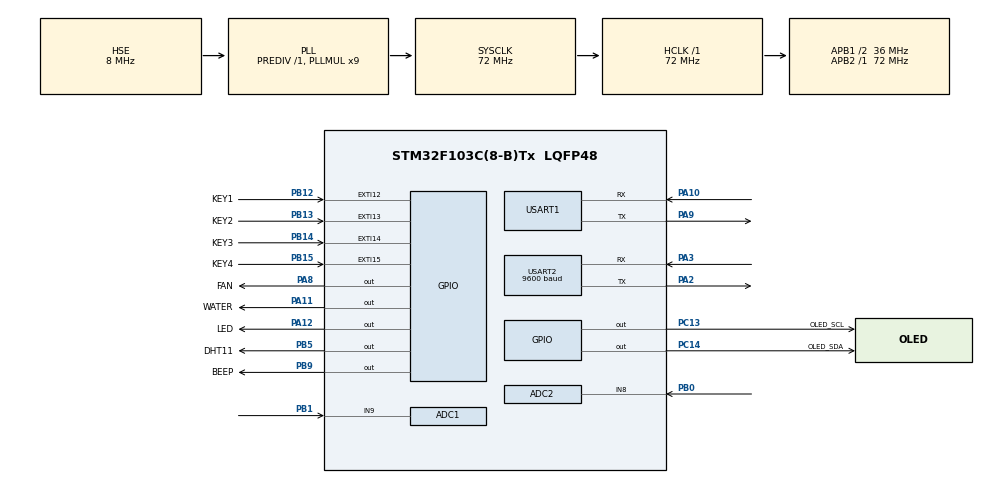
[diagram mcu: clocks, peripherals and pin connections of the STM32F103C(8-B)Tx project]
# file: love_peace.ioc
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ADC1.Channel-0\#ChannelRegularConversion=ADC_CHANNEL_9
ADC1.NbrOfConversionFlag=1
ADC1.Rank-0\#ChannelRegularConversion=1
ADC1.SamplingTime-0\#ChannelRegularConversion=ADC_SAMPLETIME_1CYCLE_5
ADC1.master=1
ADC2.Channel-0\#ChannelRegularConversion=ADC_CHANNEL_8
ADC2.NbrOfConversionFlag=1
ADC2.Rank-0\#ChannelRegularConversion=1
ADC2.SamplingTime-0\#ChannelRegularConversion=ADC_SAMPLETIME_1CYCLE_5
Dma.Request0=USART1_RX
Dma.Request1=USART1_TX
Dma.USART1_RX.0.Direction=DMA_PERIPH_TO_MEMORY
Dma.USART1_RX.0.Instance=DMA1_Channel5
Dma.USART1_RX.0.MemDataAlignment=DMA_MDATAALIGN_BYTE
Dma.USART1_RX.0.MemInc=DMA_MINC_ENABLE
Dma.USART1_RX.0.Mode=DMA_NORMAL
Dma.USART1_RX.0.PeriphDataAlignment=DMA_PDATAALIGN_BYTE
Dma.USART1_RX.0.PeriphInc=DMA_PINC_DISABLE
Dma.USART1_RX.0.Priority=DMA_PRIORITY_LOW
Dma.USART1_TX.1.Direction=DMA_MEMORY_TO_PERIPH
Dma.USART1_TX.1.Instance=DMA1_Channel4
Dma.USART1_TX.1.MemDataAlignment=DMA_MDATAALIGN_BYTE
Dma.USART1_TX.1.MemInc=DMA_MINC_ENABLE
Dma.USART1_TX.1.Mode=DMA_NORMAL
Dma.USART1_TX.1.PeriphDataAlignment=DMA_PDATAALIGN_BYTE
Dma.USART1_TX.1.PeriphInc=DMA_PINC_DISABLE
Dma.USART1_TX.1.Priority=DMA_PRIORITY_LOW
Mcu.Family=STM32F1
Mcu.Name=STM32F103C(8-B)Tx
Mcu.Package=LQFP48
NVIC.DMA1_Channel4_IRQn=true\:0\:0\:false\:false\:true\:false\:true\:true
NVIC.DMA1_Channel5_IRQn=true\:0\:0\:false\:false\:true\:false\:true\:true
NVIC.EXTI15_10_IRQn=true\:0\:0\:false\:false\:true\:true\:true\:true
NVIC.PriorityGroup=NVIC_PRIORITYGROUP_4
NVIC.USART1_IRQn=true\:1\:0\:true\:false\:true\:true\:true\:true
NVIC.USART2_IRQn=true\:2\:0\:true\:false\:true\:true\:true\:true
PA10.Mode=Asynchronous
PA10.Signal=USART1_RX
PA11.GPIO_Label=WATER
PA11.GPIO_ModeDefaultOutputPP=GPIO_MODE_OUTPUT_PP
PA11.GPIO_PuPd=GPIO_PULLDOWN
PA11.GPIO_Speed=GPIO_SPEED_FREQ_HIGH
PA11.PinState=GPIO_PIN_SET
PA11.Signal=GPIO_Output
PA12.GPIO_Label=LED
PA12.GPIO_ModeDefaultOutputPP=GPIO_MODE_OUTPUT_PP
PA12.GPIO_PuPd=GPIO_PULLUP
PA12.GPIO_Speed=GPIO_SPEED_FREQ_HIGH
PA12.PinState=GPIO_PIN_SET
PA12.Signal=GPIO_Output
PA13.Mode=Serial_Wire
PA13.Signal=SYS_JTMS-SWDIO
PA14.Mode=Serial_Wire
PA14.Signal=SYS_JTCK-SWCLK
PA2.Mode=Asynchronous
PA2.Signal=USART2_TX
PA3.Mode=Asynchronous
PA3.Signal=USART2_RX
PA8.GPIO_Label=FAN
PA8.GPIO_ModeDefaultOutputPP=GPIO_MODE_OUTPUT_PP
PA8.GPIO_PuPd=GPIO_PULLDOWN
PA8.GPIO_Speed=GPIO_SPEED_FREQ_HIGH
PA8.PinState=GPIO_PIN_SET
PA8.Signal=GPIO_Output
PA9.Mode=Asynchronous
PA9.Signal=USART1_TX
PB0.Signal=ADCx_IN8
PB1.Signal=ADCx_IN9
PB12.GPIO_Label=KEY1
PB12.GPIO_ModeDefaultEXTI=GPIO_MODE_IT_FALLING
PB12.GPIO_PuPd=GPIO_PULLUP
PB12.Signal=GPXTI12
PB13.GPIO_Label=KEY2
PB13.GPIO_ModeDefaultEXTI=GPIO_MODE_IT_FALLING
PB13.GPIO_PuPd=GPIO_PULLUP
PB13.Signal=GPXTI13
PB14.GPIO_Label=KEY3
PB14.GPIO_ModeDefaultEXTI=GPIO_MODE_IT_FALLING
PB14.GPIO_PuPd=GPIO_PULLUP
PB14.Signal=GPXTI14
PB15.GPIO_Label=KEY4
PB15.GPIO_ModeDefaultEXTI=GPIO_MODE_IT_FALLING
PB15.GPIO_PuPd=GPIO_PULLUP
PB15.Signal=GPXTI15
PB5.GPIO_Label=DHT11
PB5.GPIO_ModeDefaultOutputPP=GPIO_MODE_OUTPUT_PP
PB5.GPIO_PuPd=GPIO_PULLUP
PB5.GPIO_Speed=GPIO_SPEED_FREQ_HIGH
PB5.PinState=GPIO_PIN_SET
PB5.Signal=GPIO_Output
PB9.GPIO_Label=BEEP
PB9.GPIO_PuPd=GPIO_PULLUP
PB9.GPIO_Speed=GPIO_SPEED_FREQ_HIGH
PB9.PinState=GPIO_PIN_SET
PB9.Signal=GPIO_Output
PC13-TAMPER-RTC.GPIO_Label=OLED_SCL
PC13-TAMPER-RTC.GPIO_ModeDefaultOutputPP=GPIO_MODE_OUTPUT_PP
PC13-TAMPER-RTC.GPIO_PuPd=GPIO_PULLUP
PC13-TAMPER-RTC.GPIO_Speed=GPIO_SPEED_FREQ_HIGH
PC13-TAMPER-RTC.PinState=GPIO_PIN_SET
PC13-TAMPER-RTC.Signal=GPIO_Output
PC14-OSC32_IN.GPIO_Label=OLED_SDA
PC14-OSC32_IN.GPIO_ModeDefaultOutputPP=GPIO_MODE_OUTPUT_PP
PC14-OSC32_IN.GPIO_PuPd=GPIO_PULLUP
PC14-OSC32_IN.GPIO_Speed=GPIO_SPEED_FREQ_HIGH
PC14-OSC32_IN.PinState=GPIO_PIN_SET
PC14-OSC32_IN.Signal=GPIO_Output
PD0-OSC_IN.Mode=HSE-External-Oscillator
PD0-OSC_IN.Signal=RCC_OSC_IN
PD1-OSC_OUT.Mode=HSE-External-Oscillator
PD1-OSC_OUT.Signal=RCC_OSC_OUT
ProjectManager.HeapSize=0x200
ProjectManager.StackSize=0x400
ProjectManager.TargetToolchain=MDK-ARM V5.32
RCC.ADCPresc=RCC_ADCPCLK2_DIV6
RCC.AHBFreq_Value=72000000
RCC.APB1CLKDivider=RCC_HCLK_DIV2
RCC.APB1Freq_Value=36000000
RCC.APB1TimFreq_Value=72000000
RCC.APB2Freq_Value=72000000
RCC.APB2TimFreq_Value=72000000
RCC.HCLKFreq_Value=72000000
RCC.PLLMUL=RCC_PLL_MUL9
RCC.PLLSourceVirtual=RCC_PLLSOURCE_HSE
RCC.SYSCLKFreq_VALUE=72000000
RCC.SYSCLKSource=RCC_SYSCLKSOURCE_PLLCLK
RCC.USBFreq_Value=72000000
SH.ADCx_IN8.0=ADC2_IN8,IN8
SH.ADCx_IN9.0=ADC1_IN9,IN9
USART1.VirtualMode=VM_ASYNC
USART2.BaudRate=9600
USART2.VirtualMode=VM_ASYNC
board=custom

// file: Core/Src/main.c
/* USER CODE BEGIN Header */
/**
  ******************************************************************************
  * @file           : main.c
  * @brief          : Main program body
  ******************************************************************************
  * @attention
  *
  * Copyright (c) 2026 STMicroelectronics.
  * All rights reserved.
  *
  * This software is licensed under terms that can be found in the LICENSE file
  * in the root directory of this software component.
  * If no LICENSE file comes with this software, it is provided AS-IS.
  *
  ******************************************************************************
  */
/* USER CODE END Header */
#include "main.h"
#include "adc.h"
#include "dma.h"
#include "usart.h"
#include "gpio.h"

/* USER CODE BEGIN Includes */
#include "dht11.h"
#include "oled.h"
#include "adc.h"
#include "esp8266.h"
#include "mqtt_publisher.h"
#include "gas_sensor.h"
#include "control.h"
/* USER CODE END Includes */

/* USER CODE BEGIN PV */
DHT11_Data_t dht11_data = {0};
static uint8_t water_pump_started = 0;
static uint32_t water_pump_start_tick = 0;
/* USER CODE END PV */

void SystemClock_Config(void);

int main(void)
{

  /* USER CODE BEGIN 1 */
  uint8_t wifi_try = 0, mqtt_try = 0;
  /* USER CODE END 1 */

  /* MCU Configuration--------------------------------------------------------*/

  /* Reset of all peripherals, Initializes the Flash interface and the Systick. */
  HAL_Init();

  /* Configure the system clock */
  SystemClock_Config();

  /* Initialize all configured peripherals */
  MX_GPIO_Init();
  MX_DMA_Init();
  MX_ADC1_Init();
  MX_USART1_UART_Init();
  MX_USART2_UART_Init();
  MX_ADC2_Init();
  /* USER CODE BEGIN 2 */
	HAL_GPIO_WritePin(GPIOA, FAN_Pin|WATER_Pin, GPIO_PIN_RESET);
  OLED_Init();
  OLED_Clear();
  GasSensor_Init();
  Control_Init();

		ESP8266_Init();
	  //WIFI连接
  while (wifi_try < 5 && !ESP8266_ConnectWiFi())
  {
      wifi_try++;
      HAL_Delay(1000);
  }

	if(ESP8266_ConnectCloud()==false)
	{
		  while(1);
	}
	HAL_Delay(5000);
	ESP8266_Clear();
	OLED_Clear();

	if(!ESP8266_MQTT_Subscribe(MQTT_TOPIC_POST_REPLY,1))
	{
		  while(1);
	}

		if(!ESP8266_MQTT_Subscribe(MQTT_TOPIC_SET,0))
	{
		  while(1);
	}
  /* USER CODE END 2 */

  /* Infinite loop */
  while (1)
  {

    /* USER CODE BEGIN 3 */
    char temp_str[32];
    char hum_str[32];
    char light_str[32];
    char soil_str[32];
    static uint32_t last_mqtt_time = 0;

    uint16_t light_adc_raw = ADC1_Read_Average(10);
    uint16_t light_value = 100 - ((100 * light_adc_raw) / 4096);
    uint16_t soil_adc_raw = ADC2_Read_Average(10);
    uint16_t soil_moisture_value = 100 - ((100 * soil_adc_raw) / 4096);

    DHT11_READ_DATA(&dht11_data);

    /* 格式化数据 */
    snprintf(temp_str, sizeof(temp_str), "%d.%d", dht11_data.temp_int, dht11_data.temp_dec);
    snprintf(hum_str, sizeof(hum_str), "%d.%d", dht11_data.humidity_int, dht11_data.humidity_dec);
    snprintf(light_str, sizeof(light_str), "%d", light_value);
    snprintf(soil_str, sizeof(soil_str), "%d", soil_moisture_value);

    char co2_str[16];
    uint16_t co2_val = GasSensor_GetCO2();
    if (co2_val != 0xFFFF) {
        snprintf(co2_str, sizeof(co2_str), "%d", co2_val);
    } else {
        co2_str[0] = '\0';
    }

    /* 定时MQTT发布数据 */
    if(HAL_GetTick() - last_mqtt_time > 5000) {
        if(Control_GetRegion() == REGION_1) {
            MQTT_Publish_Data("temperature", temp_str);
            MQTT_Publish_Data("humidity", hum_str);
            MQTT_Publish_Data("light", light_str);
            MQTT_Publish_Data("soil", soil_str);
            if (co2_str[0] != '\0') {
                MQTT_Publish_Data("co2", co2_str);
            }
        } else {
            MQTT_Publish_Data("temperature1", temp_str);
            MQTT_Publish_Data("humidity1", hum_str);
            MQTT_Publish_Data("light1", light_str);
            MQTT_Publish_Data("soil1", soil_str);
            if (co2_str[0] != '\0') {
                MQTT_Publish_Data("co21", co2_str);
            }
        }
        last_mqtt_time = HAL_GetTick();
    }

    /* 自动模式下的设备控制 */
    if(Control_GetMode() == MODE_AUTO) {
        int16_t temp_threshold = Control_GetThreshold(THRESHOLD_TEMP);
        int16_t light_threshold = Control_GetThreshold(THRESHOLD_LIGHT);
        int16_t soil_threshold = Control_GetThreshold(THRESHOLD_SOIL);
        int16_t humidity_threshold = Control_GetThreshold(THRESHOLD_HUMIDITY);
        int16_t co2_threshold = Control_GetThreshold(THRESHOLD_CO2);

        /* 蜂鸣器控制：温度、湿度、土壤、CO2、光照中任一超过阈值时响铃，全部低于阈值时关闭 */
        uint8_t beep_triggered = 0;
        if(dht11_data.temp_int >= temp_threshold) beep_triggered = 1;
        if(dht11_data.humidity_int >= humidity_threshold) beep_triggered = 1;
        if(soil_moisture_value <= soil_threshold) beep_triggered = 1;
        if(co2_val != 0xFFFF && co2_val >= co2_threshold) beep_triggered = 1;
        if(light_value > light_threshold) beep_triggered = 1;

        if(beep_triggered)
        {
           // HAL_GPIO_WritePin(BEEP_GPIO_Port, BEEP_Pin, GPIO_PIN_SET);
        }
        else
        {
            //HAL_GPIO_WritePin(BEEP_GPIO_Port, BEEP_Pin, GPIO_PIN_RESET);
        }

        /* 光照控制：光照百分比小于阈值时启动LED补光，大于等于阈值时关闭LED */
        if(light_value < light_threshold)
        {
            HAL_GPIO_WritePin(LED_GPIO_Port, LED_Pin, GPIO_PIN_RESET);
        }
        else
        {
            HAL_GPIO_WritePin(LED_GPIO_Port, LED_Pin, GPIO_PIN_SET);
        }

        /* 水泵控制：土壤湿度百分比小于等于阈值时启动水泵，大于阈值时关闭 */
        if(soil_moisture_value <= soil_threshold)
        {
            if(!water_pump_started)
            {
                HAL_GPIO_WritePin(WATER_GPIO_Port, WATER_Pin, GPIO_PIN_SET);
                water_pump_started = 1;
                water_pump_start_tick = HAL_GetTick();
            }
        }
        else
        {
            if(water_pump_started && HAL_GetTick() - water_pump_start_tick >= 200)
            {
                HAL_GPIO_WritePin(WATER_GPIO_Port, WATER_Pin, GPIO_PIN_RESET);
                water_pump_started = 0;
            }
        }

        /* 风扇控制：湿度或CO2任一超过阈值时开启风扇，两者都低于阈值时关闭 */
        uint8_t fan_triggered = 0;
        if(dht11_data.humidity_int >= humidity_threshold) fan_triggered = 1;
        if(co2_val != 0xFFFF && co2_val >= co2_threshold) fan_triggered = 1;

        if(fan_triggered)
        {
            HAL_GPIO_WritePin(FAN_GPIO_Port, FAN_Pin, GPIO_PIN_SET);
        }
        else
        {
            HAL_GPIO_WritePin(FAN_GPIO_Port, FAN_Pin, GPIO_PIN_RESET);
        }
    }

    /* 处理按键 */
    Control_Process();

    /* 处理MQTT消息 */
    ESP8266_ProcessMessages();

    OLED_Clear();
    if(Control_GetPage() == PAGE_MAIN) {
        /* 显示传感器数据 */
        OLED_ShowString(0, 0, (uint8_t*)"Region:", 8, 1);
        if(Control_GetRegion() == REGION_1) {
            OLED_ShowString(50, 0, (uint8_t*)"REGION1", 8, 1);
        } else {
            OLED_ShowString(50, 0, (uint8_t*)"REGION2", 8, 1);
        }

        OLED_ShowString(0, 8, (uint8_t*)"Mode:", 8, 1);
        if(Control_GetMode() == MODE_AUTO) {
            OLED_ShowString(50, 8, (uint8_t*)"AUTO", 8, 1);
        } else {
            OLED_ShowString(50, 8, (uint8_t*)"MANUAL", 8, 1);
        }

        OLED_ShowString(0, 16, (uint8_t*)"Light:", 8, 1);
         OLED_ShowNum(50, 16, light_value, 2, 8, 1);
         OLED_ShowString(74, 16, (uint8_t*)"%", 8, 1);

         OLED_ShowString(0, 24, (uint8_t*)"Soil:", 8, 1);
         OLED_ShowNum(50, 24, soil_moisture_value, 2, 8, 1);
         OLED_ShowString(74, 24, (uint8_t*)"%", 8, 1);

         OLED_ShowString(0, 32, (uint8_t*)"Temp:", 8, 1);
         OLED_ShowNum(50, 32, dht11_data.temp_int, 2, 8, 1);
         OLED_ShowString(74, 32, (uint8_t*)".", 8, 1);
         OLED_ShowNum(80, 32, dht11_data.temp_dec, 1, 8, 1);
         OLED_ShowString(88, 32, (uint8_t*)"C", 8, 1);

         OLED_ShowString(0, 40, (uint8_t*)"Hum:", 8, 1);
         OLED_ShowNum(50, 40, dht11_data.humidity_int, 2, 8, 1);
         OLED_ShowString(74, 40, (uint8_t*)".", 8, 1);
         OLED_ShowNum(80, 40, dht11_data.humidity_dec, 1, 8, 1);
         OLED_ShowString(88, 40, (uint8_t*)"%", 8, 1);

         OLED_ShowString(0, 48, (uint8_t*)"CO2: ", 8, 1);
         uint16_t co2_val = GasSensor_GetCO2();
         if (co2_val != 0xFFFF) {
             OLED_ShowNum(50, 48, co2_val, 4, 8, 1);
             OLED_ShowString(90, 48, (uint8_t*)"ppm", 8, 1);
         } else {
             OLED_ShowString(50, 48, (uint8_t*)"----", 8, 1);
         }

         // 调试信息：显示接收计数和有效帧计数
         OLED_ShowString(0, 56, (uint8_t*)"I:", 8, 1);
         extern volatile uint32_t usart2_irq_count;
         OLED_ShowNum(15, 56, usart2_irq_count, 5, 8, 1);
         OLED_ShowString(50, 56, (uint8_t*)"R:", 8, 1);
         extern volatile uint32_t usart2_rx_count;
         OLED_ShowNum(65, 56, usart2_rx_count, 4, 8, 1);
         OLED_ShowString(100, 56, (uint8_t*)"O:", 8, 1);
         OLED_ShowNum(115, 56, GasSensor_GetValidCount(), 3, 8, 1);
    } else if(Control_GetPage() == PAGE_DEVICE_CONTROL) {
        /* 显示设备控制页面 */
        Display_DeviceControlPage();
    } else if(Control_GetPage() == PAGE_THRESHOLD_SETTING) {
        /* 显示阈值设置页面 */
        Display_ThresholdSettingPage();
    }

    OLED_Refresh();

    HAL_Delay(100);
  }
  /* USER CODE END 3 */
}

void SystemClock_Config(void)
{
  RCC_OscInitTypeDef RCC_OscInitStruct = {0};
  RCC_ClkInitTypeDef RCC_ClkInitStruct = {0};
  RCC_PeriphCLKInitTypeDef PeriphClkInit = {0};

  /** Initializes the RCC Oscillators according to the specified parameters
  * in the RCC_OscInitTypeDef structure.
  */
  RCC_OscInitStruct.OscillatorType = RCC_OSCILLATORTYPE_HSE;
  RCC_OscInitStruct.HSEState = RCC_HSE_ON;
  RCC_OscInitStruct.HSEPredivValue = RCC_HSE_PREDIV_DIV1;
  RCC_OscInitStruct.HSIState = RCC_HSI_ON;
  RCC_OscInitStruct.PLL.PLLState = RCC_PLL_ON;
  RCC_OscInitStruct.PLL.PLLSource = RCC_PLLSOURCE_HSE;
  RCC_OscInitStruct.PLL.PLLMUL = RCC_PLL_MUL9;
  if (HAL_RCC_OscConfig(&RCC_OscInitStruct) != HAL_OK)
  {
    Error_Handler();
  }

  /** Initializes the CPU, AHB and APB buses clocks
  */
  RCC_ClkInitStruct.ClockType = RCC_CLOCKTYPE_HCLK|RCC_CLOCKTYPE_SYSCLK
                              |RCC_CLOCKTYPE_PCLK1|RCC_CLOCKTYPE_PCLK2;
  RCC_ClkInitStruct.SYSCLKSource = RCC_SYSCLKSOURCE_PLLCLK;
  RCC_ClkInitStruct.AHBCLKDivider = RCC_SYSCLK_DIV1;
  RCC_ClkInitStruct.APB1CLKDivider = RCC_HCLK_DIV2;
  RCC_ClkInitStruct.APB2CLKDivider = RCC_HCLK_DIV1;

  if (HAL_RCC_ClockConfig(&RCC_ClkInitStruct, FLASH_LATENCY_2) != HAL_OK)
  {
    Error_Handler();
  }
  PeriphClkInit.PeriphClockSelection = RCC_PERIPHCLK_ADC;
  PeriphClkInit.AdcClockSelection = RCC_ADCPCLK2_DIV6;
  if (HAL_RCCEx_PeriphCLKConfig(&PeriphClkInit) != HAL_OK)
  {
    Error_Handler();
  }
}

void Error_Handler(void)
{
  __disable_irq();
  while (1)
  {
  }
}
